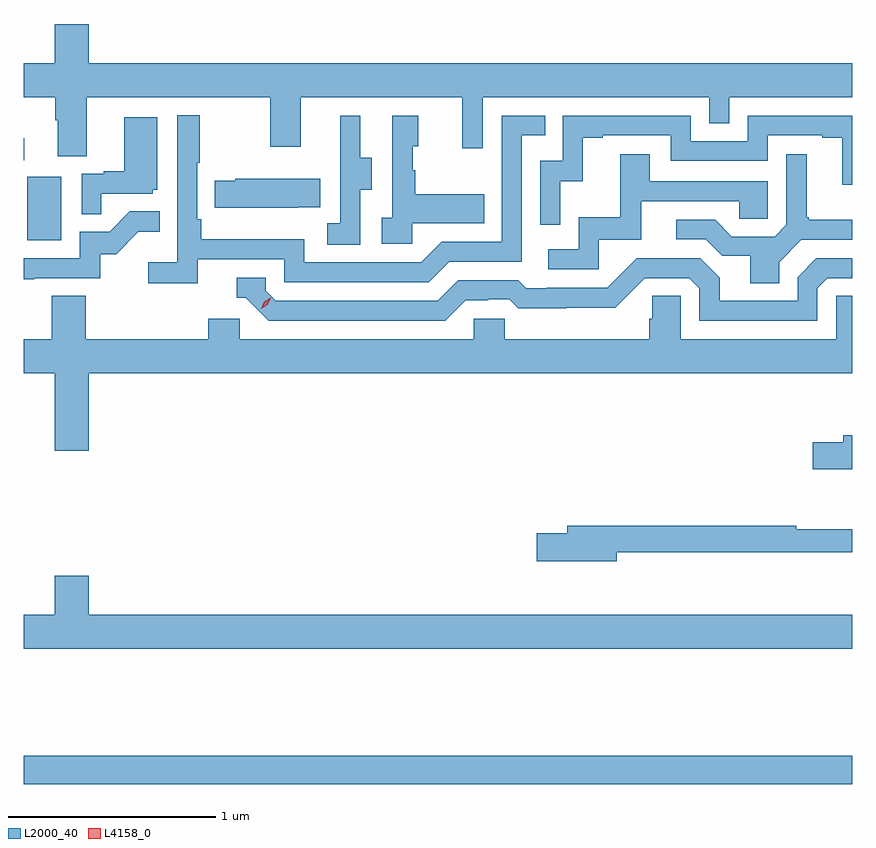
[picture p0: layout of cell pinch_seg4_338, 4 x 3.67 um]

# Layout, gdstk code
import gdstk
lib = gdstk.Library(unit=1e-6, precision=1e-09)
def R(c, l, rs):  # rectangles x0, y0, x1, y1
    for r in rs: c.add(gdstk.rectangle(r[:2], r[2:], *l))
def P(c, l, *ps):  # polygons
    for p in ps: c.add(gdstk.Polygon(p, *l))
L2000_40 = (2000, 40)
L4158_0 = (4158, 0)

pinch_seg4_338 = lib.new_cell('pinch_seg4_338')
R(pinch_seg4_338, L2000_40, [(992.03,808.156,996.03,808.292), (992.048,810.78,992.212,811.087), (992.03,811.167,992.032,811.273)])
P(pinch_seg4_338, L2000_40, [(992.335,811.472),(993.22,811.472),(993.22,811.233),(993.367,811.233),(993.367,811.472),(994.148,811.472),(994.148,811.224),(994.245,811.224),(994.245,811.472),(995.34,811.472),(995.34,811.345),(995.436,811.345),(995.436,811.472),(996.03,811.472),(996.03,811.636),(992.344,811.636),(992.344,811.825),(992.18,811.825),(992.18,811.636),(992.03,811.636),(992.03,811.472),(992.183,811.472),(992.183,811.36),(992.195,811.36),(992.195,811.186),(992.335,811.186)],
  [(992.87,810.69),(993.288,810.69),(993.288,810.579),(993.985,810.579),(994.084,810.678),(994.434,810.678),(994.434,811.287),(994.547,811.287),(994.547,811.383),(994.338,811.383),(994.338,810.774),(994.047,810.774),(993.948,810.675),(993.384,810.675),(993.384,810.787),(992.888,810.787),(992.888,810.883),(992.868,810.883),(992.868,811.156),(992.881,811.156),(992.881,811.384),(992.772,811.384),(992.772,810.676),(992.631,810.676),(992.631,810.574),(992.87,810.574)],
  [(994.62,811.067),(994.73,811.067),(994.73,811.275),(994.825,811.275),(994.825,811.287),(995.154,811.287),(995.154,811.164),(995.622,811.164),(995.622,811.287),(995.885,811.287),(995.885,811.275),(995.981,811.275),(995.981,811.049),(996.03,811.049),(996.03,811.383),(995.526,811.383),(995.526,811.26),(995.25,811.26),(995.25,811.383),(994.632,811.383),(994.632,811.164),(994.524,811.164),(994.524,810.855),(994.62,810.855)],
  [(993.654,811.024),(993.709,811.024),(993.709,811.179),(993.655,811.179),(993.655,811.381),(993.557,811.381),(993.557,811.167),(993.558,811.167),(993.558,810.863),(993.495,810.863),(993.495,810.76),(993.654,810.76)],
  [(993.906,810.863),(994.253,810.863),(994.253,811.003),(993.919,811.003),(993.919,811.118),(993.909,811.118),(993.909,811.236),(993.934,811.236),(993.934,811.381),(993.81,811.381),(993.81,810.89),(993.759,810.89),(993.759,810.765),(993.906,810.765)],
  [(992.405,811.005),(992.652,811.005),(992.652,811.026),(992.674,811.026),(992.674,811.375),(992.516,811.375),(992.516,811.114),(992.417,811.114),(992.417,811.101),(992.31,811.101),(992.31,810.907),(992.405,810.907)],
  [(994.806,810.783),(995.011,810.783),(995.011,810.969),(995.485,810.969),(995.485,810.885),(995.622,810.885),(995.622,811.065),(995.053,811.065),(995.053,811.195),(994.909,811.195),(994.909,810.892),(994.71,810.892),(994.71,810.738),(994.563,810.738),(994.563,810.642),(994.806,810.642)],
  [(995.677,810.676),(995.784,810.783),(996.03,810.783),(996.03,810.88),(995.821,810.88),(995.821,810.892),(995.809,810.892),(995.809,811.195),(995.712,811.195),(995.712,810.855),(995.655,810.798),(995.449,810.798),(995.368,810.879),(995.181,810.879),(995.181,810.786),(995.322,810.786),(995.402,810.706),(995.537,810.706),(995.537,810.574),(995.677,810.574)],
  [(993.353,810.941),(993.461,810.941),(993.461,811.078),(993.051,811.078),(993.051,811.068),(992.953,811.068),(992.953,810.938),(993.353,810.938)],
  [(992.081,810.597),(992.4,810.597),(992.4,810.714),(992.476,810.714),(992.583,810.821),(992.687,810.821),(992.687,810.92),(992.543,810.92),(992.445,810.822),(992.301,810.822),(992.301,810.693),(992.03,810.693),(992.03,810.592),(992.081,810.592)],
  [(994.165,810.492),(994.272,810.492),(994.272,810.495),(994.375,810.495),(994.417,810.453),(994.65,810.453),(994.65,810.455),(994.886,810.455),(995.028,810.597),(995.244,810.597),(995.292,810.549),(995.292,810.393),(995.862,810.393),(995.862,810.549),(995.91,810.597),(996.03,810.597),(996.03,810.693),(995.856,810.693),(995.766,810.603),(995.766,810.489),(995.389,810.489),(995.389,810.599),(995.295,810.693),(994.989,810.693),(994.848,810.552),(994.555,810.552),(994.555,810.549),(994.456,810.549),(994.417,810.588),(994.128,810.588),(994.029,810.489),(993.246,810.489),(993.198,810.537),(993.198,810.6),(993.059,810.6),(993.059,810.504),(993.102,810.504),(993.213,810.393),(994.066,810.393)],
  [(992.344,810.14),(996.03,810.14),(996.03,810.512),(995.952,810.512),(995.952,810.304),(995.202,810.304),(995.202,810.512),(995.065,810.512),(995.065,810.402),(995.051,810.402),(995.051,810.304),(994.353,810.304),(994.353,810.402),(994.203,810.402),(994.203,810.304),(993.072,810.304),(993.072,810.402),(992.921,810.402),(992.921,810.304),(992.33,810.304),(992.33,810.512),(992.165,810.512),(992.165,810.304),(992.03,810.304),(992.03,810.14),(992.18,810.14),(992.18,809.766),(992.344,809.766)],
  [(996.03,809.839),(995.987,809.839),(995.987,809.805),(995.838,809.805),(995.838,809.675),(996.03,809.675)],
  [(994.894,809.274),(996.03,809.274),(996.03,809.387),(995.759,809.387),(995.759,809.402),(994.655,809.402),(994.655,809.366),(994.506,809.366),(994.506,809.231),(994.894,809.231)],
  [(996.03,808.972),(992.344,808.972),(992.344,809.161),(992.18,809.161),(992.18,808.972),(992.03,808.972),(992.03,808.808),(996.03,808.808)])
P(pinch_seg4_338, L4158_0, [(993.176,810.45),(993.176,810.45),(993.191,810.483),(993.222,810.503),(993.222,810.503),(993.222,810.502),(993.206,810.47),(993.176,810.45)])

lib.write_gds('pinch_seg4_338.gds')
